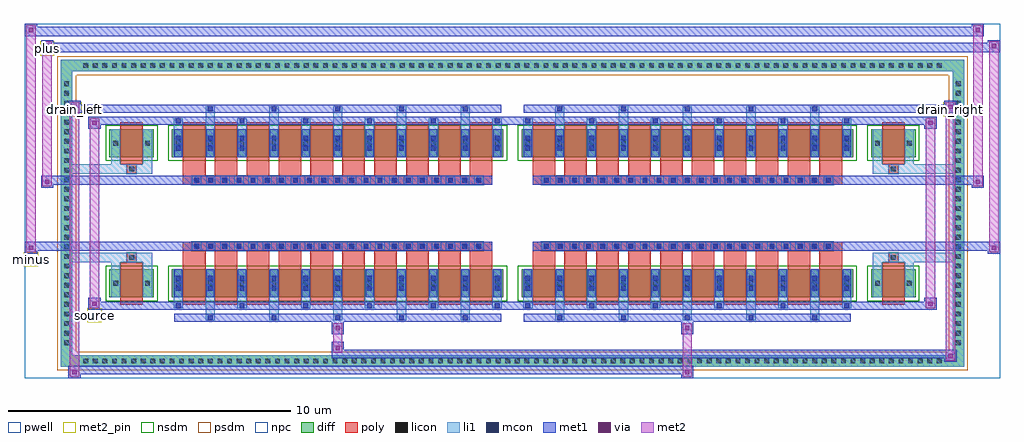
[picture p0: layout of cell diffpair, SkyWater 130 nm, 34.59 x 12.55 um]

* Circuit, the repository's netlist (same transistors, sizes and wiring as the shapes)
* NGSPICE file created from diffpair.ext - technology: sky130A

.subckt diffpair minus drain_right drain_left source plus
X0 drain_right minus source a_n3202_n1088# sky130_fd_pr__nfet_01v8 ad=0.165 pd=1.33 as=0.39 ps=2.78 w=1 l=0.8
X1 a_n3202_n1088# a_n3202_n1088# a_n3202_n1088# a_n3202_n1088# sky130_fd_pr__nfet_01v8 ad=0.39 pd=2.78 as=3.12 ps=22.24 w=1 l=0.8
X2 source plus drain_left a_n3202_n1088# sky130_fd_pr__nfet_01v8 ad=0.39 pd=2.78 as=0.165 ps=1.33 w=1 l=0.8
X3 a_n3202_n1088# a_n3202_n1088# a_n3202_n1088# a_n3202_n1088# sky130_fd_pr__nfet_01v8 ad=0.39 pd=2.78 as=0 ps=0 w=1 l=0.8
X4 source minus drain_right a_n3202_n1088# sky130_fd_pr__nfet_01v8 ad=0.165 pd=1.33 as=0.165 ps=1.33 w=1 l=0.8
X5 source minus drain_right a_n3202_n1088# sky130_fd_pr__nfet_01v8 ad=0.165 pd=1.33 as=0.165 ps=1.33 w=1 l=0.8
X6 drain_left plus source a_n3202_n1088# sky130_fd_pr__nfet_01v8 ad=0.165 pd=1.33 as=0.165 ps=1.33 w=1 l=0.8
X7 drain_left plus source a_n3202_n1088# sky130_fd_pr__nfet_01v8 ad=0.165 pd=1.33 as=0.165 ps=1.33 w=1 l=0.8
X8 drain_left plus source a_n3202_n1088# sky130_fd_pr__nfet_01v8 ad=0.165 pd=1.33 as=0.165 ps=1.33 w=1 l=0.8
X9 source minus drain_right a_n3202_n1088# sky130_fd_pr__nfet_01v8 ad=0.165 pd=1.33 as=0.165 ps=1.33 w=1 l=0.8
X10 source minus drain_right a_n3202_n1088# sky130_fd_pr__nfet_01v8 ad=0.39 pd=2.78 as=0.165 ps=1.33 w=1 l=0.8
X11 source minus drain_right a_n3202_n1088# sky130_fd_pr__nfet_01v8 ad=0.165 pd=1.33 as=0.165 ps=1.33 w=1 l=0.8
X12 source minus drain_right a_n3202_n1088# sky130_fd_pr__nfet_01v8 ad=0.39 pd=2.78 as=0.165 ps=1.33 w=1 l=0.8
X13 drain_right minus source a_n3202_n1088# sky130_fd_pr__nfet_01v8 ad=0.165 pd=1.33 as=0.165 ps=1.33 w=1 l=0.8
X14 drain_left plus source a_n3202_n1088# sky130_fd_pr__nfet_01v8 ad=0.165 pd=1.33 as=0.39 ps=2.78 w=1 l=0.8
X15 drain_left plus source a_n3202_n1088# sky130_fd_pr__nfet_01v8 ad=0.165 pd=1.33 as=0.165 ps=1.33 w=1 l=0.8
X16 drain_left plus source a_n3202_n1088# sky130_fd_pr__nfet_01v8 ad=0.165 pd=1.33 as=0.39 ps=2.78 w=1 l=0.8
X17 source minus drain_right a_n3202_n1088# sky130_fd_pr__nfet_01v8 ad=0.165 pd=1.33 as=0.165 ps=1.33 w=1 l=0.8
X18 drain_right minus source a_n3202_n1088# sky130_fd_pr__nfet_01v8 ad=0.165 pd=1.33 as=0.165 ps=1.33 w=1 l=0.8
X19 drain_right minus source a_n3202_n1088# sky130_fd_pr__nfet_01v8 ad=0.165 pd=1.33 as=0.39 ps=2.78 w=1 l=0.8
X20 source plus drain_left a_n3202_n1088# sky130_fd_pr__nfet_01v8 ad=0.165 pd=1.33 as=0.165 ps=1.33 w=1 l=0.8
X21 source minus drain_right a_n3202_n1088# sky130_fd_pr__nfet_01v8 ad=0.165 pd=1.33 as=0.165 ps=1.33 w=1 l=0.8
X22 drain_left plus source a_n3202_n1088# sky130_fd_pr__nfet_01v8 ad=0.165 pd=1.33 as=0.165 ps=1.33 w=1 l=0.8
X23 source minus drain_right a_n3202_n1088# sky130_fd_pr__nfet_01v8 ad=0.165 pd=1.33 as=0.165 ps=1.33 w=1 l=0.8
X24 drain_right minus source a_n3202_n1088# sky130_fd_pr__nfet_01v8 ad=0.165 pd=1.33 as=0.165 ps=1.33 w=1 l=0.8
X25 source plus drain_left a_n3202_n1088# sky130_fd_pr__nfet_01v8 ad=0.165 pd=1.33 as=0.165 ps=1.33 w=1 l=0.8
X26 drain_right minus source a_n3202_n1088# sky130_fd_pr__nfet_01v8 ad=0.165 pd=1.33 as=0.165 ps=1.33 w=1 l=0.8
X27 source plus drain_left a_n3202_n1088# sky130_fd_pr__nfet_01v8 ad=0.165 pd=1.33 as=0.165 ps=1.33 w=1 l=0.8
X28 drain_left plus source a_n3202_n1088# sky130_fd_pr__nfet_01v8 ad=0.165 pd=1.33 as=0.165 ps=1.33 w=1 l=0.8
X29 drain_left plus source a_n3202_n1088# sky130_fd_pr__nfet_01v8 ad=0.165 pd=1.33 as=0.165 ps=1.33 w=1 l=0.8
X30 source minus drain_right a_n3202_n1088# sky130_fd_pr__nfet_01v8 ad=0.165 pd=1.33 as=0.165 ps=1.33 w=1 l=0.8
X31 drain_right minus source a_n3202_n1088# sky130_fd_pr__nfet_01v8 ad=0.165 pd=1.33 as=0.165 ps=1.33 w=1 l=0.8
X32 drain_right minus source a_n3202_n1088# sky130_fd_pr__nfet_01v8 ad=0.165 pd=1.33 as=0.165 ps=1.33 w=1 l=0.8
X33 source plus drain_left a_n3202_n1088# sky130_fd_pr__nfet_01v8 ad=0.165 pd=1.33 as=0.165 ps=1.33 w=1 l=0.8
X34 a_n3202_n1088# a_n3202_n1088# a_n3202_n1088# a_n3202_n1088# sky130_fd_pr__nfet_01v8 ad=0.39 pd=2.78 as=0 ps=0 w=1 l=0.8
X35 source plus drain_left a_n3202_n1088# sky130_fd_pr__nfet_01v8 ad=0.165 pd=1.33 as=0.165 ps=1.33 w=1 l=0.8
X36 drain_left plus source a_n3202_n1088# sky130_fd_pr__nfet_01v8 ad=0.165 pd=1.33 as=0.165 ps=1.33 w=1 l=0.8
X37 drain_right minus source a_n3202_n1088# sky130_fd_pr__nfet_01v8 ad=0.165 pd=1.33 as=0.165 ps=1.33 w=1 l=0.8
X38 a_n3202_n1088# a_n3202_n1088# a_n3202_n1088# a_n3202_n1088# sky130_fd_pr__nfet_01v8 ad=0.39 pd=2.78 as=0 ps=0 w=1 l=0.8
X39 drain_right minus source a_n3202_n1088# sky130_fd_pr__nfet_01v8 ad=0.165 pd=1.33 as=0.165 ps=1.33 w=1 l=0.8
X40 source plus drain_left a_n3202_n1088# sky130_fd_pr__nfet_01v8 ad=0.165 pd=1.33 as=0.165 ps=1.33 w=1 l=0.8
X41 source plus drain_left a_n3202_n1088# sky130_fd_pr__nfet_01v8 ad=0.39 pd=2.78 as=0.165 ps=1.33 w=1 l=0.8
X42 source plus drain_left a_n3202_n1088# sky130_fd_pr__nfet_01v8 ad=0.165 pd=1.33 as=0.165 ps=1.33 w=1 l=0.8
X43 source plus drain_left a_n3202_n1088# sky130_fd_pr__nfet_01v8 ad=0.165 pd=1.33 as=0.165 ps=1.33 w=1 l=0.8
.ends

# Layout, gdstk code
import gdstk
lib = gdstk.Library(unit=1e-6, precision=5e-09)
def R(c, l, rs):  # rectangles x0, y0, x1, y1
    for r in rs: c.add(gdstk.rectangle(r[:2], r[2:], *l))
def A(c, l, x, y, w, h, nx, ny, dx, dy):  # array of equal rectangles
    R(c, l, [(x+i*dx, y+j*dy, x+i*dx+w, y+j*dy+h) for i in range(nx) for j in range(ny)])
def P(c, l, *ps):  # polygons
    for p in ps: c.add(gdstk.Polygon(p, *l))
pwell = (64, 44)
diff = (65, 20)
poly = (66, 20)
licon = (66, 44)
li1 = (67, 20)
mcon = (67, 44)
met1 = (68, 20)
via = (68, 44)
met2_pin = (69, 16)
met2 = (69, 20)
nsdm = (93, 44)
psdm = (94, 20)
npc = (95, 20)

diffpair = lib.new_cell('diffpair')
R(diffpair, pwell, [(-17.28,-5.84,17.28,6.71), (-14.6,-4.03,-0.01,-0.805), (0.01,-4.03,14.6,-0.805), (-14.6,0.805,-0.01,4.03), (0.01,0.805,14.6,4.03)])
A(diffpair, diff, -15.335, -5.44, 0.41, 0.41, 90, 2, 0.34, 10.47)
A(diffpair, diff, -16.01, -4.795, 0.41, 0.41, 1, 28, 0, 0.34)
A(diffpair, diff, 15.6, -4.795, 0.41, 0.41, 1, 28, 0, 0.34)
R(diffpair, diff, [(-15.335,-5.44,15.335,-5.03), (-16.01,-4.795,-15.6,4.795), (15.6,-4.795,16.01,4.795), (-14.29,-2.985,-12.71,-1.985), (-12.07,-2.985,-0.32,-1.985), (0.32,-2.985,12.07,-1.985), (12.71,-2.985,14.29,-1.985), (-14.29,1.985,-12.71,2.985), (-12.07,1.985,-0.32,2.985), (0.32,1.985,12.07,2.985), (12.71,1.985,14.29,2.985), (-15.335,5.03,15.335,5.44)])
P(diffpair, diff, [(16.01,5.44),(-16.01,5.44),(-16.01,-5.03),(-15.6,-5.03),(-15.6,5.03),(15.6,5.03),(15.6,-5.03),(-15.6,-5.03),(-16.01,-5.03),(-16.01,-5.44),(16.01,-5.44)])
A(diffpair, poly, -11.68, -3.235, 0.8, 1.5, 10, 2, 1.13, 4.97)
A(diffpair, poly, 0.71, -3.235, 0.8, 1.5, 10, 2, 1.13, 4.97)
A(diffpair, poly, -11.68, -1.735, 0.8, 0.4, 10, 2, 1.13, 3.07)
A(diffpair, poly, 0.71, -1.735, 0.8, 0.4, 10, 2, 1.13, 3.07)
A(diffpair, poly, -11.36, -1.335, 0.33, 0.33, 21, 2, 0.5, 2.34)
A(diffpair, poly, 1.03, -1.335, 0.33, 0.33, 21, 2, 0.5, 2.34)
R(diffpair, poly, [(-13.9,-3.235,-13.1,-1.735), (13.1,-3.235,13.9,-1.735), (-13.665,-1.735,-13.335,-1.405), (-13.665,-1.735,-13.335,-1.405), (13.335,-1.735,13.665,-1.405), (13.335,-1.735,13.665,-1.405), (-11.68,-1.335,-0.71,-1.005), (0.71,-1.335,11.68,-1.005), (-11.68,1.005,-0.71,1.335), (0.71,1.005,11.68,1.335), (-13.665,1.405,-13.335,1.735), (-13.665,1.405,-13.335,1.735), (13.335,1.405,13.665,1.735), (13.335,1.405,13.665,1.735), (-13.9,1.735,-13.1,3.235), (13.1,1.735,13.9,3.235)])
A(diffpair, licon, -15.215, -5.32, 0.17, 0.17, 90, 2, 0.34, 10.47)
A(diffpair, licon, -15.89, -4.675, 0.17, 0.17, 1, 28, 0, 0.34)
A(diffpair, licon, 15.72, -4.675, 0.17, 0.17, 1, 28, 0, 0.34)
A(diffpair, licon, -11.93, -2.57, 0.17, 0.17, 11, 2, 1.13, 4.97)
A(diffpair, licon, 0.46, -2.57, 0.17, 0.17, 11, 2, 1.13, 4.97)
A(diffpair, licon, -11.28, -1.255, 0.17, 0.17, 21, 2, 0.5, 2.34)
A(diffpair, licon, 1.11, -1.255, 0.17, 0.17, 21, 2, 0.5, 2.34)
R(diffpair, licon, [(-14.15,-2.57,-13.98,-2.4), (-13.02,-2.57,-12.85,-2.4), (12.85,-2.57,13.02,-2.4), (13.98,-2.57,14.15,-2.4), (-13.585,-1.655,-13.415,-1.485), (13.415,-1.655,13.585,-1.485), (-13.585,1.485,-13.415,1.655), (13.415,1.485,13.585,1.655), (-14.15,2.4,-13.98,2.57), (-13.02,2.4,-12.85,2.57), (12.85,2.4,13.02,2.57), (13.98,2.4,14.15,2.57)])
A(diffpair, li1, -15.295, -5.4, 0.33, 0.33, 90, 2, 0.34, 10.47)
A(diffpair, li1, -15.97, -4.755, 0.33, 0.33, 1, 28, 0, 0.34)
A(diffpair, li1, 15.64, -4.755, 0.33, 0.33, 1, 28, 0, 0.34)
A(diffpair, li1, -10.88, -3.79, 0.33, 0.805, 5, 2, 2.26, 6.775)
A(diffpair, li1, -10.8, -3.79, 0.17, 0.17, 5, 2, 2.26, 7.41)
A(diffpair, li1, 1.51, -3.79, 0.33, 0.805, 5, 2, 2.26, 6.775)
A(diffpair, li1, 1.59, -3.79, 0.17, 0.17, 5, 2, 2.26, 7.41)
A(diffpair, li1, -12.01, -3.36, 0.33, 0.375, 6, 2, 2.26, 6.345)
A(diffpair, li1, -11.93, -3.36, 0.17, 0.17, 6, 2, 2.26, 6.55)
A(diffpair, li1, 0.38, -3.36, 0.33, 0.375, 6, 2, 2.26, 6.345)
A(diffpair, li1, 0.46, -3.36, 0.17, 0.17, 6, 2, 2.26, 6.55)
A(diffpair, li1, -12.01, -2.985, 0.33, 1, 11, 2, 1.13, 4.97)
A(diffpair, li1, 0.38, -2.985, 0.33, 1, 11, 2, 1.13, 4.97)
A(diffpair, li1, -11.93, -2.75, 0.17, 0.17, 11, 2, 1.13, 0.36)
A(diffpair, li1, -11.93, -2.75, 0.17, 0.53, 11, 2, 1.13, 4.97)
A(diffpair, li1, 0.46, -2.75, 0.17, 0.17, 11, 2, 1.13, 0.36)
A(diffpair, li1, 0.46, -2.75, 0.17, 0.53, 11, 2, 1.13, 4.97)
A(diffpair, li1, -12.01, -2.65, 0.33, 0.33, 11, 2, 1.13, 4.97)
A(diffpair, li1, 0.38, -2.65, 0.33, 0.33, 11, 2, 1.13, 4.97)
A(diffpair, li1, -11.36, -1.335, 0.33, 0.33, 21, 2, 0.5, 2.34)
A(diffpair, li1, 1.03, -1.335, 0.33, 0.33, 21, 2, 0.5, 2.34)
A(diffpair, li1, -11.93, 2.22, 0.17, 0.17, 11, 2, 1.13, 0.36)
A(diffpair, li1, 0.46, 2.22, 0.17, 0.17, 11, 2, 1.13, 0.36)
R(diffpair, li1, [(-16.01,-5.44,-15.6,-5.03), (-16.01,-5.44,-15.6,-5.03), (-15.6,-5.44,15.6,-5.03), (15.6,-5.44,16.01,-5.03), (15.6,-5.44,16.01,-5.03), (-16.01,-5.03,-15.6,5.03), (15.6,-5.03,16.01,5.03), (-14.23,-2.985,-13.9,-1.985), (-13.1,-2.985,-12.77,-1.985), (12.77,-2.985,13.1,-1.985), (13.9,-2.985,14.23,-1.985), (-14.23,-2.65,-13.9,-2.32), (-13.1,-2.65,-12.77,-2.32), (12.77,-2.65,13.1,-2.32), (13.9,-2.65,14.23,-2.32), (-14.23,-1.985,-13.9,-1.405), (-13.1,-1.985,-12.77,-1.405), (12.77,-1.985,13.1,-1.405), (13.9,-1.985,14.23,-1.405), (-16.01,-1.735,-13.665,-1.405), (-14.23,-1.735,-13.665,-1.405), (-13.665,-1.735,-13.335,-1.405), (-13.335,-1.735,-12.77,-1.405), (12.77,-1.735,13.335,-1.405), (13.335,-1.735,13.665,-1.405), (13.335,-1.735,16.01,-1.405), (13.665,-1.735,14.23,-1.405), (-16.01,1.405,-13.665,1.735), (-14.23,1.405,-13.665,1.735), (-14.23,1.405,-13.9,1.985), (-13.665,1.405,-13.335,1.735), (-13.335,1.405,-12.77,1.735), (-13.1,1.405,-12.77,1.985), (12.77,1.405,13.335,1.735), (12.77,1.405,13.1,1.985), (13.335,1.405,13.665,1.735), (13.335,1.405,16.01,1.735), (13.665,1.405,14.23,1.735), (13.9,1.405,14.23,1.985), (-14.23,1.985,-13.9,2.985), (-13.1,1.985,-12.77,2.985), (12.77,1.985,13.1,2.985), (13.9,1.985,14.23,2.985), (-14.23,2.32,-13.9,2.65), (-13.1,2.32,-12.77,2.65), (12.77,2.32,13.1,2.65), (13.9,2.32,14.23,2.65), (-16.01,5.03,-15.6,5.44), (-16.01,5.03,-15.6,5.44), (-15.6,5.03,15.6,5.44), (15.6,5.03,16.01,5.44), (15.6,5.03,16.01,5.44)])
A(diffpair, mcon, -10.8, -3.79, 0.17, 0.17, 5, 2, 2.26, 7.41)
A(diffpair, mcon, 1.59, -3.79, 0.17, 0.17, 5, 2, 2.26, 7.41)
A(diffpair, mcon, -11.93, -3.36, 0.17, 0.17, 6, 2, 2.26, 6.55)
A(diffpair, mcon, 0.46, -3.36, 0.17, 0.17, 6, 2, 2.26, 6.55)
A(diffpair, mcon, -11.93, -2.75, 0.17, 0.17, 11, 2, 1.13, 0.36)
A(diffpair, mcon, 0.46, -2.75, 0.17, 0.17, 11, 2, 1.13, 0.36)
A(diffpair, mcon, -11.28, -1.255, 0.17, 0.17, 21, 2, 0.5, 2.34)
A(diffpair, mcon, 1.11, -1.255, 0.17, 0.17, 21, 2, 0.5, 2.34)
A(diffpair, mcon, -11.93, 2.22, 0.17, 0.17, 11, 2, 1.13, 0.36)
A(diffpair, mcon, 0.46, 2.22, 0.17, 0.17, 11, 2, 1.13, 0.36)
A(diffpair, met1, -10.86, -3.85, 0.29, 0.29, 5, 2, 2.26, 7.41)
A(diffpair, met1, 1.53, -3.85, 0.29, 0.29, 5, 2, 2.26, 7.41)
A(diffpair, met1, -11.99, -3.42, 0.29, 0.29, 6, 2, 2.26, 6.55)
A(diffpair, met1, 0.4, -3.42, 0.29, 0.29, 6, 2, 2.26, 6.55)
A(diffpair, met1, -11.99, -2.985, 0.29, 1, 11, 2, 1.13, 4.97)
A(diffpair, met1, 0.4, -2.985, 0.29, 1, 11, 2, 1.13, 4.97)
A(diffpair, met1, -11.99, -2.81, 0.29, 0.29, 11, 2, 1.13, 0.36)
A(diffpair, met1, 0.4, -2.81, 0.29, 0.29, 11, 2, 1.13, 0.36)
A(diffpair, met1, -11.34, -1.315, 0.29, 0.29, 21, 2, 0.5, 2.34)
A(diffpair, met1, 1.05, -1.315, 0.29, 0.29, 21, 2, 0.5, 2.34)
A(diffpair, met1, -11.99, 2.16, 0.29, 0.29, 11, 2, 1.13, 0.36)
A(diffpair, met1, 0.4, 2.16, 0.29, 0.29, 11, 2, 1.13, 0.36)
R(diffpair, met1, [(-15.74,-5.84,-15.31,-5.41), (5.98,-5.84,6.41,-5.41), (-15.74,-5.7,6.41,-5.41), (15.31,-5.27,15.74,-4.84), (-6.41,-5.13,15.74,-4.84), (-6.41,-4.99,-5.98,-4.56), (-6.41,-4.28,-5.98,-3.85), (5.98,-4.28,6.41,-3.85), (-11.99,-3.85,-0.4,-3.56), (0.4,-3.85,11.99,-3.56), (-15.03,-3.42,-14.6,-2.99), (-15.03,-3.42,-11.99,-3.13), (-11.99,-3.42,-0.4,-3.13), (-0.4,-3.42,0.4,-3.13), (0.4,-3.42,11.99,-3.13), (11.99,-3.42,15.03,-3.13), (14.6,-3.42,15.03,-2.99), (-17.28,-1.435,-16.85,-1.005), (16.85,-1.435,17.28,-1.005), (-17.28,-1.335,-0.71,-1.005), (-11.68,-1.335,-0.71,-1.005), (0.71,-1.335,11.68,-1.005), (0.71,-1.335,17.28,-1.005), (-16.71,0.905,-16.28,1.335), (16.28,0.905,16.71,1.335), (-16.71,1.005,-11.68,1.335), (-11.68,1.005,-0.71,1.335), (0.71,1.005,11.68,1.335), (11.68,1.005,16.71,1.335), (-15.03,2.99,-14.6,3.42), (14.6,2.99,15.03,3.42), (-15.03,3.13,-11.99,3.42), (-11.99,3.13,-0.4,3.42), (-0.4,3.13,0.4,3.42), (0.4,3.13,11.99,3.42), (11.99,3.13,15.03,3.42), (-15.74,3.56,-15.31,3.99), (-15.74,3.56,-11.99,3.85), (-11.99,3.56,-0.4,3.85), (0.4,3.56,11.99,3.85), (11.99,3.56,15.74,3.85), (15.31,3.56,15.74,3.99), (-16.71,5.71,-16.28,6.14), (-16.71,5.71,-14.6,6.04), (-14.6,5.71,14.6,6.04), (14.6,5.71,17.28,6.04), (16.85,5.71,17.28,6.14), (-17.28,6.28,-16.85,6.71), (-17.28,6.28,-14.6,6.61), (-14.6,6.28,14.6,6.61), (14.6,6.28,16.71,6.61), (16.28,6.28,16.71,6.71)])
R(diffpair, via, [(-15.6,-5.7,-15.45,-5.55), (6.12,-5.7,6.27,-5.55), (15.45,-5.13,15.6,-4.98), (-6.27,-4.85,-6.12,-4.7), (-6.27,-4.14,-6.12,-3.99), (6.12,-4.14,6.27,-3.99), (-14.89,-3.28,-14.74,-3.13), (14.74,-3.28,14.89,-3.13), (-17.14,-1.295,-16.99,-1.145), (16.99,-1.295,17.14,-1.145), (-16.57,1.045,-16.42,1.195), (16.42,1.045,16.57,1.195), (-14.89,3.13,-14.74,3.28), (14.74,3.13,14.89,3.28), (-15.6,3.7,-15.45,3.85), (15.45,3.7,15.6,3.85), (-16.57,5.85,-16.42,6), (16.99,5.85,17.14,6), (-17.14,6.42,-16.99,6.57), (16.42,6.42,16.57,6.57)])
R(diffpair, met2_pin, [(-15.065,-3.87,-14.565,-3.37), (-17.315,-1.885,-16.815,-1.385), (-15.775,3.44,-15.275,3.94), (15.275,3.44,15.775,3.94), (-16.745,5.59,-16.245,6.09)])
R(diffpair, met2, [(-15.69,-5.79,-15.36,-5.46), (-15.69,-5.79,-15.36,3.94), (6.03,-5.79,6.36,-5.46), (6.03,-5.46,6.36,-4.23), (15.36,-5.22,15.69,-4.89), (15.36,-5.22,15.69,3.94), (-6.36,-4.94,-6.03,-4.61), (-6.36,-4.61,-6.03,-4.23), (-6.36,-4.23,-6.03,-3.9), (6.03,-4.23,6.36,-3.9), (-14.98,-3.37,-14.65,-3.04), (-14.98,-3.37,-14.65,3.37), (14.65,-3.37,14.98,-3.04), (14.65,-3.37,14.98,3.37), (-17.23,-1.385,-16.9,-1.055), (-17.23,-1.385,-16.9,6.66), (16.9,-1.385,17.23,-1.055), (16.9,-1.385,17.23,6.09), (-16.66,0.955,-16.33,1.285), (-16.66,0.955,-16.33,6.09), (16.33,0.955,16.66,1.285), (16.33,0.955,16.66,6.66), (-14.98,3.04,-14.65,3.37), (14.65,3.04,14.98,3.37), (-15.69,3.61,-15.36,3.94), (15.36,3.61,15.69,3.94), (-16.66,5.76,-16.33,6.09), (16.9,5.76,17.23,6.09), (-17.23,6.33,-16.9,6.66), (16.33,6.33,16.66,6.66)])
P(diffpair, met2, [(17.23,-1.385),(17.23,-1.385),(17.23,-1.055),(17.23,-1.055)],
  [(17.23,5.76),(17.23,5.76),(17.23,6.09),(17.23,6.09)],
  [(-16.9,-1.385),(-16.9,-1.385),(-16.9,-1.055),(-16.9,-1.055)],
  [(-16.9,6.33),(-16.9,6.33),(-16.9,6.66),(-16.9,6.66)],
  [(16.66,0.955),(16.66,0.955),(16.66,1.285),(16.66,1.285)],
  [(16.66,6.33),(16.66,6.33),(16.66,6.66),(16.66,6.66)],
  [(-16.33,0.955),(-16.33,0.955),(-16.33,1.285),(-16.33,1.285)],
  [(-16.33,5.76),(-16.33,5.76),(-16.33,6.09),(-16.33,6.09)],
  [(-15.36,-5.79),(-15.36,-5.79),(-15.36,-5.46),(-15.36,-5.46)],
  [(-15.36,3.61),(-15.36,3.61),(-15.36,3.94),(-15.36,3.94)],
  [(15.69,-5.22),(15.69,-5.22),(15.69,-4.89),(15.69,-4.89)],
  [(15.69,3.61),(15.69,3.61),(15.69,3.94),(15.69,3.94)],
  [(-14.65,-3.37),(-14.65,-3.37),(-14.65,-3.04),(-14.65,-3.04)],
  [(-14.65,3.04),(-14.65,3.04),(-14.65,3.37),(-14.65,3.37)],
  [(14.98,-3.37),(14.98,-3.37),(14.98,-3.04),(14.98,-3.04)],
  [(14.98,3.04),(14.98,3.04),(14.98,3.37),(14.98,3.37)])
R(diffpair, nsdm, [(-14.42,-3.115,-12.58,-1.855), (-12.2,-3.115,-0.19,-1.855), (0.19,-3.115,12.2,-1.855), (12.58,-3.115,14.42,-1.855), (-14.42,1.855,-12.58,3.115), (-12.2,1.855,-0.19,3.115), (0.19,1.855,12.2,3.115), (12.58,1.855,14.42,3.115)])
P(diffpair, psdm, [(16.14,5.57),(-16.14,5.57),(-16.14,-4.9),(-15.47,-4.9),(-15.47,4.9),(15.47,4.9),(15.47,-4.9),(-15.47,-4.9),(-16.14,-4.9),(-16.14,-5.57),(16.14,-5.57)])
A(diffpair, npc, -11.38, -1.355, 0.37, 0.37, 21, 2, 0.5, 2.34)
A(diffpair, npc, 1.01, -1.355, 0.37, 0.37, 21, 2, 0.5, 2.34)
R(diffpair, npc, [(-13.685,-1.755,-13.315,-1.385), (13.315,-1.755,13.685,-1.385), (-11.38,-1.355,-10.51,-0.985), (-11.38,-1.355,-10.51,-0.985), (-10.88,-1.355,-10.01,-0.985), (-10.88,-1.355,-10.01,-0.985), (-10.38,-1.355,-9.51,-0.985), (-10.38,-1.355,-9.51,-0.985), (-9.88,-1.355,-9.01,-0.985), (-9.88,-1.355,-9.01,-0.985), (-9.38,-1.355,-8.51,-0.985), (-9.38,-1.355,-8.51,-0.985), (-8.88,-1.355,-8.01,-0.985), (-8.88,-1.355,-8.01,-0.985), (-8.38,-1.355,-7.51,-0.985), (-8.38,-1.355,-7.51,-0.985), (-7.88,-1.355,-7.01,-0.985), (-7.88,-1.355,-7.01,-0.985), (-7.38,-1.355,-6.51,-0.985), (-7.38,-1.355,-6.51,-0.985), (-6.88,-1.355,-6.01,-0.985), (-6.88,-1.355,-6.01,-0.985), (-6.38,-1.355,-5.51,-0.985), (-6.38,-1.355,-5.51,-0.985), (-5.88,-1.355,-5.01,-0.985), (-5.88,-1.355,-5.01,-0.985), (-5.38,-1.355,-4.51,-0.985), (-5.38,-1.355,-4.51,-0.985), (-4.88,-1.355,-4.01,-0.985), (-4.88,-1.355,-4.01,-0.985), (-4.38,-1.355,-3.51,-0.985), (-4.38,-1.355,-3.51,-0.985), (-3.88,-1.355,-3.01,-0.985), (-3.88,-1.355,-3.01,-0.985), (-3.38,-1.355,-2.51,-0.985), (-3.38,-1.355,-2.51,-0.985), (-2.88,-1.355,-2.01,-0.985), (-2.88,-1.355,-2.01,-0.985), (-2.38,-1.355,-1.51,-0.985), (-2.38,-1.355,-1.51,-0.985), (-1.88,-1.355,-1.01,-0.985), (-1.88,-1.355,-1.01,-0.985), (1.01,-1.355,1.88,-0.985), (1.01,-1.355,1.88,-0.985), (1.51,-1.355,2.38,-0.985), (1.51,-1.355,2.38,-0.985), (2.01,-1.355,2.88,-0.985), (2.01,-1.355,2.88,-0.985), (2.51,-1.355,3.38,-0.985), (2.51,-1.355,3.38,-0.985), (3.01,-1.355,3.88,-0.985), (3.01,-1.355,3.88,-0.985), (3.51,-1.355,4.38,-0.985), (3.51,-1.355,4.38,-0.985), (4.01,-1.355,4.88,-0.985), (4.01,-1.355,4.88,-0.985), (4.51,-1.355,5.38,-0.985), (4.51,-1.355,5.38,-0.985), (5.01,-1.355,5.88,-0.985), (5.01,-1.355,5.88,-0.985), (5.51,-1.355,6.38,-0.985), (5.51,-1.355,6.38,-0.985), (6.01,-1.355,6.88,-0.985), (6.01,-1.355,6.88,-0.985), (6.51,-1.355,7.38,-0.985), (6.51,-1.355,7.38,-0.985), (7.01,-1.355,7.88,-0.985), (7.01,-1.355,7.88,-0.985), (7.51,-1.355,8.38,-0.985), (7.51,-1.355,8.38,-0.985), (8.01,-1.355,8.88,-0.985), (8.01,-1.355,8.88,-0.985), (8.51,-1.355,9.38,-0.985), (8.51,-1.355,9.38,-0.985), (9.01,-1.355,9.88,-0.985), (9.01,-1.355,9.88,-0.985), (9.51,-1.355,10.38,-0.985), (9.51,-1.355,10.38,-0.985), (10.01,-1.355,10.88,-0.985), (10.01,-1.355,10.88,-0.985), (10.51,-1.355,11.38,-0.985), (10.51,-1.355,11.38,-0.985), (-11.38,0.985,-10.51,1.355), (-11.38,0.985,-10.51,1.355), (-10.88,0.985,-10.01,1.355), (-10.88,0.985,-10.01,1.355), (-10.38,0.985,-9.51,1.355), (-10.38,0.985,-9.51,1.355), (-9.88,0.985,-9.01,1.355), (-9.88,0.985,-9.01,1.355), (-9.38,0.985,-8.51,1.355), (-9.38,0.985,-8.51,1.355), (-8.88,0.985,-8.01,1.355), (-8.88,0.985,-8.01,1.355), (-8.38,0.985,-7.51,1.355), (-8.38,0.985,-7.51,1.355), (-7.88,0.985,-7.01,1.355), (-7.88,0.985,-7.01,1.355), (-7.38,0.985,-6.51,1.355), (-7.38,0.985,-6.51,1.355), (-6.88,0.985,-6.01,1.355), (-6.88,0.985,-6.01,1.355), (-6.38,0.985,-5.51,1.355), (-6.38,0.985,-5.51,1.355), (-5.88,0.985,-5.01,1.355), (-5.88,0.985,-5.01,1.355), (-5.38,0.985,-4.51,1.355), (-5.38,0.985,-4.51,1.355), (-4.88,0.985,-4.01,1.355), (-4.88,0.985,-4.01,1.355), (-4.38,0.985,-3.51,1.355), (-4.38,0.985,-3.51,1.355), (-3.88,0.985,-3.01,1.355), (-3.88,0.985,-3.01,1.355), (-3.38,0.985,-2.51,1.355), (-3.38,0.985,-2.51,1.355), (-2.88,0.985,-2.01,1.355), (-2.88,0.985,-2.01,1.355), (-2.38,0.985,-1.51,1.355), (-2.38,0.985,-1.51,1.355), (-1.88,0.985,-1.01,1.355), (-1.88,0.985,-1.01,1.355), (1.01,0.985,1.88,1.355), (1.01,0.985,1.88,1.355), (1.51,0.985,2.38,1.355), (1.51,0.985,2.38,1.355), (2.01,0.985,2.88,1.355), (2.01,0.985,2.88,1.355), (2.51,0.985,3.38,1.355), (2.51,0.985,3.38,1.355), (3.01,0.985,3.88,1.355), (3.01,0.985,3.88,1.355), (3.51,0.985,4.38,1.355), (3.51,0.985,4.38,1.355), (4.01,0.985,4.88,1.355), (4.01,0.985,4.88,1.355), (4.51,0.985,5.38,1.355), (4.51,0.985,5.38,1.355), (5.01,0.985,5.88,1.355), (5.01,0.985,5.88,1.355), (5.51,0.985,6.38,1.355), (5.51,0.985,6.38,1.355), (6.01,0.985,6.88,1.355), (6.01,0.985,6.88,1.355), (6.51,0.985,7.38,1.355), (6.51,0.985,7.38,1.355), (7.01,0.985,7.88,1.355), (7.01,0.985,7.88,1.355), (7.51,0.985,8.38,1.355), (7.51,0.985,8.38,1.355), (8.01,0.985,8.88,1.355), (8.01,0.985,8.88,1.355), (8.51,0.985,9.38,1.355), (8.51,0.985,9.38,1.355), (9.01,0.985,9.88,1.355), (9.01,0.985,9.88,1.355), (9.51,0.985,10.38,1.355), (9.51,0.985,10.38,1.355), (10.01,0.985,10.88,1.355), (10.01,0.985,10.88,1.355), (10.51,0.985,11.38,1.355), (10.51,0.985,11.38,1.355), (-13.685,1.385,-13.315,1.755), (13.315,1.385,13.685,1.755)])
diffpair.add(gdstk.Label('minus', (-17.065,-1.635), layer=69, texttype=5))
diffpair.add(gdstk.Label('drain_right', (15.525,3.69), layer=69, texttype=5))
diffpair.add(gdstk.Label('drain_left', (-15.525,3.69), layer=69, texttype=5))
diffpair.add(gdstk.Label('source', (-14.815,-3.62), layer=69, texttype=5))
diffpair.add(gdstk.Label('plus', (-16.495,5.84), layer=69, texttype=5))

lib.write_gds('diffpair.gds')
